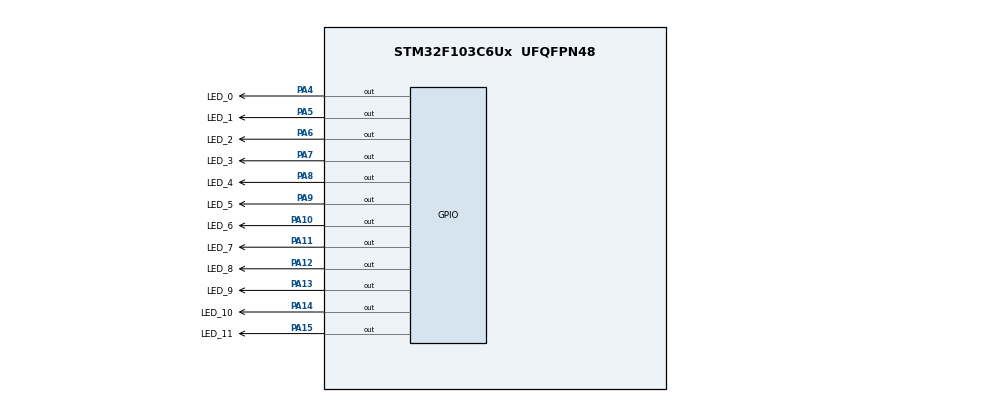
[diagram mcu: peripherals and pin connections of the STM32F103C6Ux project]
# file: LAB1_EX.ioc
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Mcu.Family=STM32F1
Mcu.Name=STM32F103C6Ux
Mcu.Package=UFQFPN48
NVIC.PriorityGroup=NVIC_PRIORITYGROUP_4
PA10.GPIO_Label=LED_6
PA10.Signal=GPIO_Output
PA11.GPIO_Label=LED_7
PA11.Signal=GPIO_Output
PA12.GPIO_Label=LED_8
PA12.Signal=GPIO_Output
PA13.GPIO_Label=LED_9
PA13.Signal=GPIO_Output
PA14.GPIO_Label=LED_10
PA14.Signal=GPIO_Output
PA15.GPIO_Label=LED_11
PA15.Signal=GPIO_Output
PA4.GPIO_Label=LED_0
PA4.Signal=GPIO_Output
PA5.GPIO_Label=LED_1
PA5.Signal=GPIO_Output
PA6.GPIO_Label=LED_2
PA6.Signal=GPIO_Output
PA7.GPIO_Label=LED_3
PA7.Signal=GPIO_Output
PA8.GPIO_Label=LED_4
PA8.Signal=GPIO_Output
PA9.GPIO_Label=LED_5
PA9.Signal=GPIO_Output
ProjectManager.HeapSize=0x200
ProjectManager.StackSize=0x400
ProjectManager.TargetToolchain=STM32CubeIDE
RCC.APB1Freq_Value=8000000
RCC.APB2Freq_Value=8000000
VP_SYS_VS_ND.Mode=No_Debug
board=custom

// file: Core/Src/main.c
/* USER CODE BEGIN Header */
/**
  ******************************************************************************
  * @file           : main.c
  * @brief          : Main program body
  ******************************************************************************
  * @attention
  *
  * <h2><center>&copy; Copyright (c) 2023 STMicroelectronics.
  * All rights reserved.</center></h2>
  *
  * This software component is licensed by ST under BSD 3-Clause license,
  * the "License"; You may not use this file except in compliance with the
  * License. You may obtain a copy of the License at:
  *                        opensource.org/licenses/BSD-3-Clause
  *
  ******************************************************************************
  */
/* USER CODE END Header */
#include "main.h"

void SystemClock_Config(void);
static void MX_GPIO_Init(void);

/* USER CODE BEGIN 0 */

void clearAllClock()
 {
		HAL_GPIO_WritePin( LED_0_GPIO_Port, LED_0_Pin, GPIO_PIN_SET);
		HAL_GPIO_WritePin( LED_1_GPIO_Port, LED_1_Pin, GPIO_PIN_SET);
		HAL_GPIO_WritePin( LED_2_GPIO_Port, LED_2_Pin, GPIO_PIN_SET);
		HAL_GPIO_WritePin( LED_3_GPIO_Port, LED_3_Pin, GPIO_PIN_SET);
		HAL_GPIO_WritePin( LED_4_GPIO_Port, LED_4_Pin, GPIO_PIN_SET);
		HAL_GPIO_WritePin( LED_5_GPIO_Port, LED_5_Pin, GPIO_PIN_SET);
		HAL_GPIO_WritePin( LED_6_GPIO_Port, LED_6_Pin, GPIO_PIN_SET);
		HAL_GPIO_WritePin( LED_7_GPIO_Port, LED_7_Pin, GPIO_PIN_SET);
		HAL_GPIO_WritePin( LED_8_GPIO_Port, LED_8_Pin, GPIO_PIN_SET);
		HAL_GPIO_WritePin( LED_9_GPIO_Port, LED_9_Pin, GPIO_PIN_SET);
		HAL_GPIO_WritePin( LED_10_GPIO_Port, LED_10_Pin, GPIO_PIN_SET);
		HAL_GPIO_WritePin( LED_11_GPIO_Port, LED_11_Pin, GPIO_PIN_SET);
 }

void setNumberOnClock( int num)
 {
	 if ( num == 0  )
	 {
		 HAL_GPIO_WritePin( LED_0_GPIO_Port, LED_0_Pin, GPIO_PIN_RESET);
	 }
	 else if ( num == 1)
	 {
		 HAL_GPIO_WritePin( LED_1_GPIO_Port, LED_1_Pin, GPIO_PIN_RESET);
	 }
	 else if ( num == 2)
	 {
		 HAL_GPIO_WritePin( LED_2_GPIO_Port, LED_2_Pin, GPIO_PIN_RESET);
	 }
	 else if ( num == 3)
	 {
	 	 HAL_GPIO_WritePin( LED_3_GPIO_Port, LED_3_Pin, GPIO_PIN_RESET);
	 }
	 else if ( num == 4)
	 {
		 HAL_GPIO_WritePin( LED_4_GPIO_Port, LED_4_Pin, GPIO_PIN_RESET);
	 }
	 else if ( num == 5)
	 {
		 HAL_GPIO_WritePin( LED_5_GPIO_Port, LED_5_Pin, GPIO_PIN_RESET);
	 }
	 else if ( num == 6)
	 {
	 	 HAL_GPIO_WritePin( LED_6_GPIO_Port, LED_6_Pin, GPIO_PIN_RESET);
	 }
	 else if ( num == 7)
	 {
	 	 HAL_GPIO_WritePin( LED_7_GPIO_Port, LED_7_Pin, GPIO_PIN_RESET);
	 }
	 else if ( num == 8)
	 {
	 	 HAL_GPIO_WritePin( LED_8_GPIO_Port, LED_8_Pin, GPIO_PIN_RESET);
	 }
	 else if ( num == 9)
	 {
	 	 HAL_GPIO_WritePin( LED_9_GPIO_Port, LED_9_Pin, GPIO_PIN_RESET);
	 }
	 else if ( num == 10)
	 {
		 HAL_GPIO_WritePin( LED_10_GPIO_Port, LED_10_Pin, GPIO_PIN_RESET);
	 }
	 else
	 {
		 HAL_GPIO_WritePin( LED_11_GPIO_Port, LED_11_Pin, GPIO_PIN_RESET);
	 }
 }

void setNumberOffClock( int num)
 {
	 if ( num == 0  )
	 {
		 HAL_GPIO_WritePin( LED_0_GPIO_Port, LED_0_Pin, GPIO_PIN_SET);
	 }
	 else if ( num == 1)
	 {
		 HAL_GPIO_WritePin( LED_1_GPIO_Port, LED_1_Pin, GPIO_PIN_SET);
	 }
	 else if ( num == 2)
	 {
		 HAL_GPIO_WritePin( LED_2_GPIO_Port, LED_2_Pin, GPIO_PIN_SET);
	 }
	 else if ( num == 3)
	 {
	 	 HAL_GPIO_WritePin( LED_3_GPIO_Port, LED_3_Pin, GPIO_PIN_SET);
	 }
	 else if ( num == 4)
	 {
		 HAL_GPIO_WritePin( LED_4_GPIO_Port, LED_4_Pin, GPIO_PIN_SET);
	 }
	 else if ( num == 5)
	 {
		 HAL_GPIO_WritePin( LED_5_GPIO_Port, LED_5_Pin, GPIO_PIN_SET);
	 }
	 else if ( num == 6)
	 {
	 	 HAL_GPIO_WritePin( LED_6_GPIO_Port, LED_6_Pin, GPIO_PIN_SET);
	 }
	 else if ( num == 7)
	 {
	 	 HAL_GPIO_WritePin( LED_7_GPIO_Port, LED_7_Pin, GPIO_PIN_SET);
	 }
	 else if ( num == 8)
	 {
	 	 HAL_GPIO_WritePin( LED_8_GPIO_Port, LED_8_Pin, GPIO_PIN_SET);
	 }
	 else if ( num == 9)
	 {
	 	 HAL_GPIO_WritePin( LED_9_GPIO_Port, LED_9_Pin, GPIO_PIN_SET);
	 }
	 else if ( num == 10)
	 {
		 HAL_GPIO_WritePin( LED_10_GPIO_Port, LED_10_Pin, GPIO_PIN_SET);
	 }
	 else
	 {
		 HAL_GPIO_WritePin( LED_11_GPIO_Port, LED_11_Pin, GPIO_PIN_SET);
	 }
 }

int seconds = 0, minutes = 0, hours = 0;
int dem = 0;
void displayOnClock(int num){
  if(num <= 12){
    if (num-1 == dem || num-1 == hours) setNumberOnClock(num);
    else{
     setNumberOffClock(num-1);
     setNumberOnClock(num);
    }
  }
}

/* USER CODE END 0 */

int main(void)
{

  /* MCU Configuration--------------------------------------------------------*/

  /* Reset of all peripherals, Initializes the Flash interface and the Systick. */
  HAL_Init();

  /* Configure the system clock */
  SystemClock_Config();

  /* Initialize all configured peripherals */
  MX_GPIO_Init();

  /* Infinite loop */
  /* USER CODE BEGIN WHILE */
  int tmp = -1;
  int count = 1;
  while (1)
  {
	  if (tmp == -1)
	  {
		  clearAllClock();
		  tmp = 1;
	  }
	  //kim gio
	  if (hours == 0) displayOnClock(0);
	  else displayOnClock(hours);

	   // kim phut
	   dem = minutes/5;
	   if ( dem == 0) displayOnClock(0);
	   else displayOnClock( dem );

	   // kim giay

	   if ( count <= 60)
	   {
		   seconds = count/5;
		   if (seconds == 0) displayOnClock(0);
		   else{
		     displayOnClock(seconds);
		   }
		    count ++;
	   }
	   else
	   {
		   count = 1 ;
		   minutes++;
		   if (minutes == 60)
		   {
			   hours++;
			   minutes = 0;
			   if (hours==12) hours = 0;
		   }
      /* USER CODE END WHILE */

	      /* USER CODE BEGIN 3 */
	    }
	   // co the delay (10) de xem ket qua aj
	   HAL_Delay(120);
    /* USER CODE END WHILE */
  	  }
    /* USER CODE BEGIN 3 */
  }
  /* USER CODE END 3 */

void SystemClock_Config(void)
{
  RCC_OscInitTypeDef RCC_OscInitStruct = {0};
  RCC_ClkInitTypeDef RCC_ClkInitStruct = {0};

  /** Initializes the RCC Oscillators according to the specified parameters
  * in the RCC_OscInitTypeDef structure.
  */
  RCC_OscInitStruct.OscillatorType = RCC_OSCILLATORTYPE_HSI;
  RCC_OscInitStruct.HSIState = RCC_HSI_ON;
  RCC_OscInitStruct.HSICalibrationValue = RCC_HSICALIBRATION_DEFAULT;
  RCC_OscInitStruct.PLL.PLLState = RCC_PLL_NONE;
  if (HAL_RCC_OscConfig(&RCC_OscInitStruct) != HAL_OK)
  {
    Error_Handler();
  }
  /** Initializes the CPU, AHB and APB buses clocks
  */
  RCC_ClkInitStruct.ClockType = RCC_CLOCKTYPE_HCLK|RCC_CLOCKTYPE_SYSCLK
                              |RCC_CLOCKTYPE_PCLK1|RCC_CLOCKTYPE_PCLK2;
  RCC_ClkInitStruct.SYSCLKSource = RCC_SYSCLKSOURCE_HSI;
  RCC_ClkInitStruct.AHBCLKDivider = RCC_SYSCLK_DIV1;
  RCC_ClkInitStruct.APB1CLKDivider = RCC_HCLK_DIV1;
  RCC_ClkInitStruct.APB2CLKDivider = RCC_HCLK_DIV1;

  if (HAL_RCC_ClockConfig(&RCC_ClkInitStruct, FLASH_LATENCY_0) != HAL_OK)
  {
    Error_Handler();
  }
}

static void MX_GPIO_Init(void)
{
  GPIO_InitTypeDef GPIO_InitStruct = {0};

  /* GPIO Ports Clock Enable */
  __HAL_RCC_GPIOA_CLK_ENABLE();

  /*Configure GPIO pin Output Level */
  HAL_GPIO_WritePin(GPIOA, LED_0_Pin|LED_1_Pin|LED_2_Pin|LED_3_Pin
                          |LED_4_Pin|LED_5_Pin|LED_6_Pin|LED_7_Pin
                          |LED_8_Pin|LED_9_Pin|LED_10_Pin|LED_11_Pin, GPIO_PIN_RESET);

  /*Configure GPIO pins : LED_0_Pin LED_1_Pin LED_2_Pin LED_3_Pin
                           LED_4_Pin LED_5_Pin LED_6_Pin LED_7_Pin
                           LED_8_Pin LED_9_Pin LED_10_Pin LED_11_Pin */
  GPIO_InitStruct.Pin = LED_0_Pin|LED_1_Pin|LED_2_Pin|LED_3_Pin
                          |LED_4_Pin|LED_5_Pin|LED_6_Pin|LED_7_Pin
                          |LED_8_Pin|LED_9_Pin|LED_10_Pin|LED_11_Pin;
  GPIO_InitStruct.Mode = GPIO_MODE_OUTPUT_PP;
  GPIO_InitStruct.Pull = GPIO_NOPULL;
  GPIO_InitStruct.Speed = GPIO_SPEED_FREQ_LOW;
  HAL_GPIO_Init(GPIOA, &GPIO_InitStruct);

}

void Error_Handler(void)
{
  __disable_irq();
  while (1)
  {
  }
}

/************************ (C) COPYRIGHT STMicroelectronics *****END OF FILE****/
